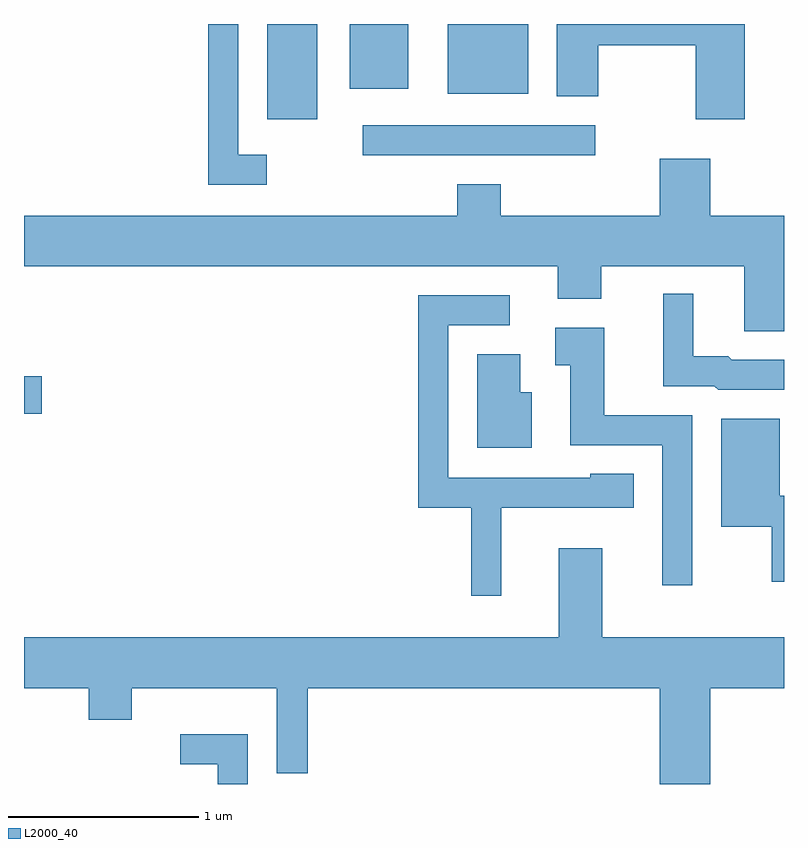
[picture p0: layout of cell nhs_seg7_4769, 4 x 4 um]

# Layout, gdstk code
import gdstk
lib = gdstk.Library(unit=1e-6, precision=1e-09)
def R(c, l, rs):  # rectangles x0, y0, x1, y1
    for r in rs: c.add(gdstk.rectangle(r[:2], r[2:], *l))
def P(c, l, *ps):  # polygons
    for p in ps: c.add(gdstk.Polygon(p, *l))
L2000_40 = (2000, 40)

nhs_seg7_4769 = lib.new_cell('nhs_seg7_4769')
R(nhs_seg7_4769, L2000_40, [(331.611,1720.201,331.704,1720.399), (333.393,1721.561,334.618,1721.719), (332.891,1721.751,333.154,1722.252), (333.841,1721.886,334.264,1722.252), (333.326,1721.911,333.634,1722.252)])
P(nhs_seg7_4769, L2000_40, [(335.404,1722.252),(334.416,1722.252),(334.416,1721.871),(334.634,1721.871),(334.634,1722.141),(335.146,1722.141),(335.146,1721.751),(335.404,1721.751)],
  [(332.888,1721.564),(332.739,1721.564),(332.739,1722.252),(332.581,1722.252),(332.581,1721.406),(332.888,1721.406)],
  [(335.611,1721.244),(335.224,1721.244),(335.224,1721.544),(334.956,1721.544),(334.956,1721.244),(334.119,1721.244),(334.119,1721.409),(333.891,1721.409),(333.891,1721.244),(331.611,1721.244),(331.611,1720.976),(334.421,1720.976),(334.421,1720.806),(334.649,1720.806),(334.649,1720.976),(335.401,1720.976),(335.401,1720.636),(335.611,1720.636)],
  [(335.611,1720.484),(335.337,1720.484),(335.317,1720.504),(335.134,1720.504),(335.134,1720.833),(334.976,1720.833),(334.976,1720.346),(335.244,1720.346),(335.264,1720.326),(335.611,1720.326)],
  [(334.124,1719.706),(334.819,1719.706),(334.819,1719.884),(334.591,1719.884),(334.591,1719.864),(333.844,1719.864),(333.844,1720.666),(334.168,1720.666),(334.168,1720.824),(333.686,1720.824),(333.686,1719.706),(333.966,1719.706),(333.966,1719.243),(334.124,1719.243)],
  [(335.129,1720.194),(334.664,1720.194),(334.664,1720.654),(334.406,1720.654),(334.406,1720.456),(334.486,1720.456),(334.486,1720.036),(334.971,1720.036),(334.971,1719.298),(335.129,1719.298)],
  [(334.284,1720.314),(334.224,1720.314),(334.224,1720.514),(333.996,1720.514),(333.996,1720.021),(334.284,1720.021)],
  [(335.611,1719.769),(335.589,1719.769),(335.589,1720.174),(335.281,1720.174),(335.281,1719.606),(335.546,1719.606),(335.546,1719.316),(335.611,1719.316)],
  [(335.224,1718.756),(335.611,1718.756),(335.611,1719.024),(334.654,1719.024),(334.654,1719.494),(334.426,1719.494),(334.426,1719.024),(331.611,1719.024),(331.611,1718.756),(331.951,1718.756),(331.951,1718.591),(332.179,1718.591),(332.179,1718.756),(332.941,1718.756),(332.941,1718.308),(333.104,1718.308),(333.104,1718.756),(334.956,1718.756),(334.956,1718.252),(335.224,1718.252)],
  [(332.789,1718.514),(332.433,1718.514),(332.433,1718.356),(332.631,1718.356),(332.631,1718.252),(332.789,1718.252)])

lib.write_gds('nhs_seg7_4769.gds')
